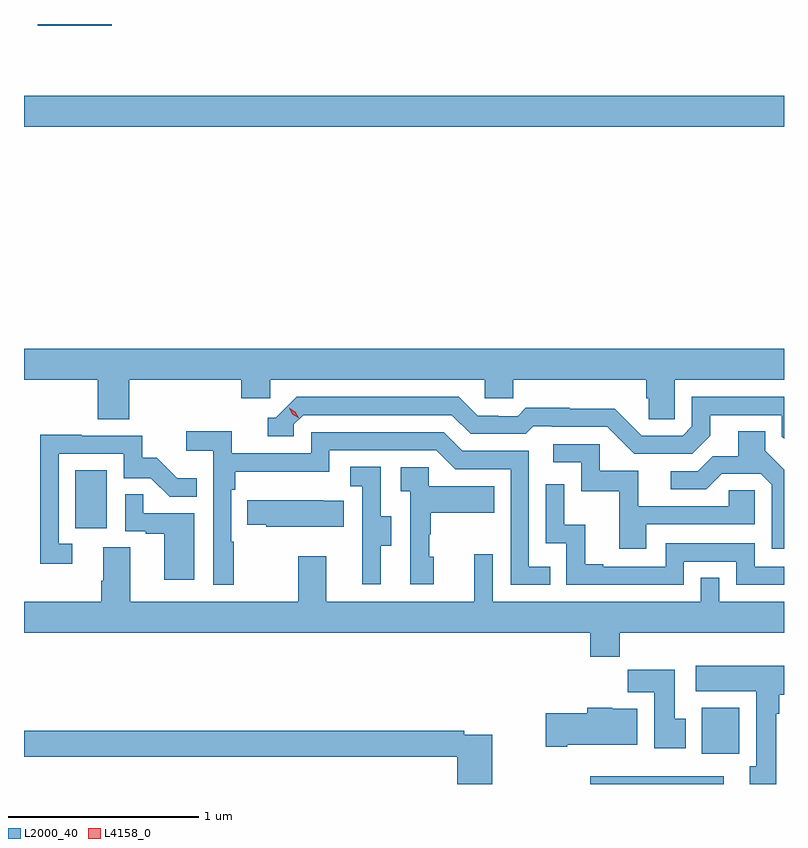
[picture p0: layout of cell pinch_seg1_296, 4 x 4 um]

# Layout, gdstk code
import gdstk
lib = gdstk.Library(unit=1e-6, precision=1e-09)
def R(c, l, rs):  # rectangles x0, y0, x1, y1
    for r in rs: c.add(gdstk.rectangle(r[:2], r[2:], *l))
def P(c, l, *ps):  # polygons
    for p in ps: c.add(gdstk.Polygon(p, *l))
L2000_40 = (2000, 40)
L4158_0 = (4158, 0)

pinch_seg1_296 = lib.new_cell('pinch_seg1_296')
R(pinch_seg1_296, L2000_40, [(940.589,549.605,941.293,549.646), (941.177,549.764,941.374,550.006), (937.88,550.95,938.044,551.257), (937.609,553.064,941.609,553.228), (937.682,553.597,938.071,553.605)])
P(pinch_seg1_296, L2000_40, [(938.162,551.732),(938.753,551.732),(938.753,551.634),(938.904,551.634),(938.904,551.732),(940.035,551.732),(940.035,551.634),(940.185,551.634),(940.185,551.732),(940.883,551.732),(940.883,551.634),(940.897,551.634),(940.897,551.524),(941.034,551.524),(941.034,551.732),(941.609,551.732),(941.609,551.896),(937.609,551.896),(937.609,551.732),(937.997,551.732),(937.997,551.524),(938.162,551.524)],
  [(941.221,551.437),(941.221,551.547),(941.598,551.547),(941.598,551.433),(941.609,551.422),(941.609,551.643),(941.124,551.643),(941.124,551.487),(941.076,551.439),(940.86,551.439),(940.718,551.581),(940.482,551.581),(940.482,551.584),(940.249,551.584),(940.207,551.541),(940.104,551.541),(940.104,551.544),(939.997,551.544),(939.898,551.643),(939.045,551.643),(938.934,551.532),(938.891,551.532),(938.891,551.436),(939.03,551.436),(939.03,551.499),(939.078,551.547),(939.861,551.547),(939.96,551.448),(940.249,551.448),(940.288,551.487),(940.387,551.487),(940.387,551.484),(940.68,551.484),(940.821,551.343),(941.127,551.343)],
  [(938.713,550.88),(938.7,550.88),(938.7,551.153),(938.72,551.153),(938.72,551.249),(939.216,551.249),(939.216,551.361),(939.78,551.361),(939.879,551.262),(940.17,551.262),(940.17,550.653),(940.379,550.653),(940.379,550.749),(940.266,550.749),(940.266,551.358),(939.916,551.358),(939.817,551.457),(939.12,551.457),(939.12,551.346),(938.702,551.346),(938.702,551.462),(938.463,551.462),(938.463,551.36),(938.604,551.36),(938.604,550.653),(938.713,550.653)],
  [(941.609,551.26),(941.509,551.36),(941.509,551.462),(941.369,551.462),(941.369,551.33),(941.234,551.33),(941.154,551.25),(941.013,551.25),(941.013,551.157),(941.2,551.157),(941.281,551.238),(941.487,551.238),(941.544,551.181),(941.544,550.842),(941.609,550.842)],
  [(937.864,550.869),(937.791,550.869),(937.791,551.343),(938.133,551.343),(938.133,551.214),(938.277,551.214),(938.375,551.116),(938.519,551.116),(938.519,551.215),(938.415,551.215),(938.308,551.322),(938.232,551.322),(938.232,551.439),(937.913,551.439),(937.913,551.444),(937.695,551.444),(937.695,550.764),(937.864,550.764)],
  [(940.885,550.971),(941.454,550.971),(941.454,551.151),(941.317,551.151),(941.317,551.067),(940.843,551.067),(940.843,551.253),(940.638,551.253),(940.638,551.394),(940.395,551.394),(940.395,551.298),(940.542,551.298),(940.542,551.145),(940.741,551.145),(940.741,550.842),(940.885,550.842)],
  [(939.487,550.858),(939.541,550.858),(939.541,551.013),(939.486,551.013),(939.486,551.276),(939.327,551.276),(939.327,551.173),(939.39,551.173),(939.39,550.869),(939.389,550.869),(939.389,550.656),(939.487,550.656)],
  [(939.766,550.8),(939.741,550.8),(939.741,550.919),(939.751,550.919),(939.751,551.033),(940.085,551.033),(940.085,551.173),(939.738,551.173),(939.738,551.271),(939.591,551.271),(939.591,551.147),(939.642,551.147),(939.642,550.656),(939.766,550.656)],
  [(941.082,550.776),(941.358,550.776),(941.358,550.653),(941.609,550.653),(941.609,550.749),(941.454,550.749),(941.454,550.872),(940.986,550.872),(940.986,550.749),(940.657,550.749),(940.657,550.762),(940.562,550.762),(940.562,550.97),(940.452,550.97),(940.452,551.182),(940.356,551.182),(940.356,550.872),(940.464,550.872),(940.464,550.653),(941.082,550.653)],
  [(938.506,551.031),(938.237,551.031),(938.237,551.129),(938.142,551.129),(938.142,550.935),(938.249,550.935),(938.249,550.923),(938.348,550.923),(938.348,550.68),(938.506,550.68)],
  [(939.293,551.095),(939.185,551.095),(939.185,551.098),(938.785,551.098),(938.785,550.969),(938.883,550.969),(938.883,550.958),(939.293,550.958)],
  [(941.609,550.564),(941.268,550.564),(941.268,550.691),(941.172,550.691),(941.172,550.564),(940.077,550.564),(940.077,550.813),(939.98,550.813),(939.98,550.564),(939.199,550.564),(939.199,550.804),(939.052,550.804),(939.052,550.564),(938.167,550.564),(938.167,550.85),(938.027,550.85),(938.027,550.676),(938.015,550.676),(938.015,550.564),(937.609,550.564),(937.609,550.4),(940.589,550.4),(940.589,550.276),(940.745,550.276),(940.745,550.4),(941.609,550.4)],
  [(941.569,549.974),(941.584,549.974),(941.584,550.074),(941.609,550.074),(941.609,550.228),(941.145,550.228),(941.145,550.094),(941.462,550.094),(941.462,549.698),(941.429,549.698),(941.429,549.605),(941.569,549.605)],
  [(941.092,549.948),(941.035,549.948),(941.035,550.207),(940.786,550.207),(940.786,550.088),(940.925,550.088),(940.925,549.792),(941.092,549.792)],
  [(940.468,549.812),(940.837,549.812),(940.837,550),(940.704,550),(940.704,550.006),(940.574,550.006),(940.574,549.978),(940.356,549.978),(940.356,549.8),(940.468,549.8)],
  [(940.073,549.864),(939.926,549.864),(939.926,549.884),(937.609,549.884),(937.609,549.748),(939.89,549.748),(939.89,549.605),(940.073,549.605)])
P(pinch_seg1_296, L4158_0, [(939.053,551.533),(939.022,551.552),(939.006,551.584),(939.006,551.584),(939.006,551.584),(939.037,551.565),(939.054,551.533),(939.054,551.533)])

lib.write_gds('pinch_seg1_296.gds')
